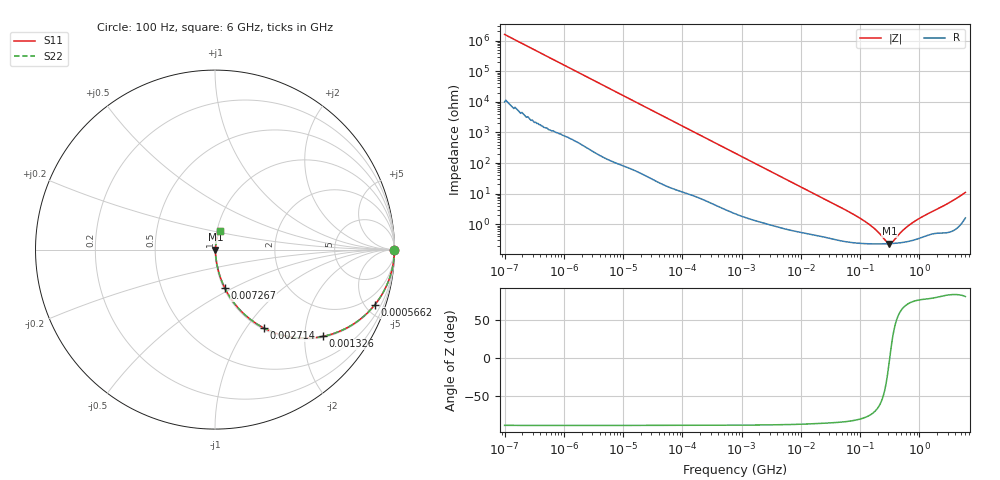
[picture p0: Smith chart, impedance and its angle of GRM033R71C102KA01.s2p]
!Murata Part Number: GRM033R71C102KA01
!These Parameters are Measured in Series Mode Connection
!Data Generated on Mar 30, 2021
!  o--ll--o
!Port1  Port2
!  o------o
!Operation Temp=25[degC], DC Bias Voltage=0[V]
!Freq. Start=100[Hz] Stop=6[GHz] 401[Steps]
# Hz S RI R 50
!Freq.(Hz) S11(Real) S11(Imag) S21(Real) S21(Imag) S12(Real) S12(Imag) S22(Real) S22(Imag)
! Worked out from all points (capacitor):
!   401 points, 100 Hz to 6 GHz, reference 50 ohm
!   read as one part in series: C = 1 nF near 109 Hz
!   lowest |Z| = 234 mohm at 312.4 MHz (marker M1)
!   series resonance near 317.1 MHz, so ESL is about 250 pH
!   S11 on the Smith chart (normalised r, x): 100 Hz: open; 566.2 kHz: 1.06, -5.76; 1.326 MHz: 1.03, -2.47; 2.714 MHz: 1.02, -1.21; 7.267 MHz: 1.01, -0.46; 6 GHz: 1.03, +0.22
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100  1 -6.32e-05  4e-07 6.32e-05  4e-07 6.32e-05  1 -6.32e-05
171  1 -0.000108  6e-07 0.000108  6e-07 0.000108  1 -0.000108
2008  1 -0.00126  7.8e-06 0.00126  7.8e-06 0.00126  1 -0.00126
40335  0.9992 -0.025  0.000769 0.025  0.000769 0.025  0.9992 -0.025
184852  0.9862 -0.1123  0.0138 0.1123  0.0138 0.1123  0.9862 -0.1123
566185  0.8902 -0.3078  0.1098 0.3078  0.1098 0.3078  0.8902 -0.3078
774597  0.814 -0.3839  0.186 0.3839  0.186 0.3839  0.814 -0.3839
1325623  0.6033 -0.4831  0.3967 0.4831  0.3967 0.4831  0.6033 -0.4831
1896632  0.4296 -0.4879  0.5704 0.4879  0.5704 0.4879  0.4296 -0.4879
2713602  0.2725 -0.437  0.7275 0.437  0.7275 0.437  0.2725 -0.437
4246196  0.1366 -0.3334  0.8634 0.3334  0.8634 0.3334  0.1366 -0.3334
7266822  0.0549 -0.2146  0.9451 0.2146  0.9451 0.2146  0.0549 -0.2146
1.555665e7  0.0159 -0.1054  0.9841 0.1054  0.9841 0.1054  0.0159 -0.1054
5.699437e7  0.00354 -0.029  0.9965 0.029  0.9965 0.029  0.00354 -0.029
1.166697e8  0.0025 -0.0128  0.9975 0.0128  0.9975 0.0128  0.0025 -0.0128
1.745687e8  0.00233 -0.00688  0.9977 0.00688  0.9977 0.00688  0.00233 -0.00688
2.731619e8  0.0023 -0.00162  0.9977 0.00162  0.9977 0.00162  0.0023 -0.00162
3.124326e8  0.00232 -0.000159  0.9977 0.000159  0.9977 0.000159  0.00232 -0.000159
3.573489e8  0.00236 0.0013  0.9976 -0.0013  0.9976 -0.0013  0.00236 0.0013
5.346885e8  0.00259 0.00591  0.9974 -0.00591  0.9974 -0.00591  0.00259 0.00591
8.000355e8  0.00315 0.0114  0.9969 -0.0114  0.9969 -0.0114  0.00315 0.0114
6e9  0.0271 0.1045  0.9729 -0.1045  0.9729 -0.1045  0.0271 0.1045
